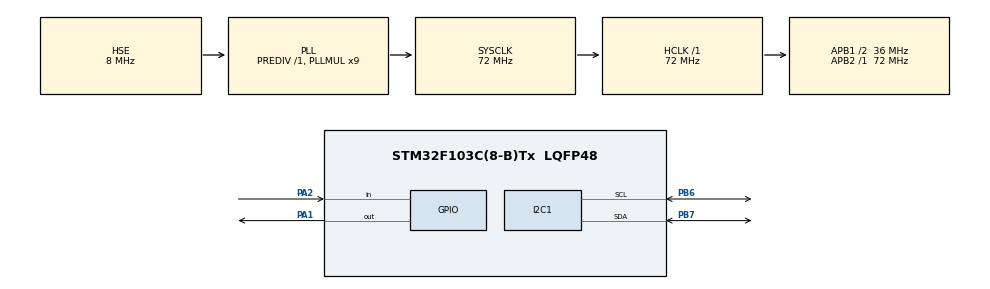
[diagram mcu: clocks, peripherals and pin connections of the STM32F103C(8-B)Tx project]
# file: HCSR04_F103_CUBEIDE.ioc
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Mcu.Family=STM32F1
Mcu.Name=STM32F103C(8-B)Tx
Mcu.Package=LQFP48
NVIC.PriorityGroup=NVIC_PRIORITYGROUP_4
PA1.Signal=GPIO_Output
PA13.Mode=Serial_Wire
PA13.Signal=SYS_JTMS-SWDIO
PA14.Mode=Serial_Wire
PA14.Signal=SYS_JTCK-SWCLK
PA2.Signal=GPIO_Input
PB6.Mode=I2C
PB6.Signal=I2C1_SCL
PB7.Mode=I2C
PB7.Signal=I2C1_SDA
PD0-OSC_IN.Mode=HSE-External-Oscillator
PD0-OSC_IN.Signal=RCC_OSC_IN
PD1-OSC_OUT.Mode=HSE-External-Oscillator
PD1-OSC_OUT.Signal=RCC_OSC_OUT
ProjectManager.HeapSize=0x200
ProjectManager.StackSize=0x400
ProjectManager.TargetToolchain=STM32CubeIDE
RCC.AHBFreq_Value=72000000
RCC.APB1CLKDivider=RCC_HCLK_DIV2
RCC.APB1Freq_Value=36000000
RCC.APB1TimFreq_Value=72000000
RCC.APB2Freq_Value=72000000
RCC.APB2TimFreq_Value=72000000
RCC.HCLKFreq_Value=72000000
RCC.PLLMUL=RCC_PLL_MUL9
RCC.PLLSourceVirtual=RCC_PLLSOURCE_HSE
RCC.SYSCLKFreq_VALUE=72000000
RCC.SYSCLKSource=RCC_SYSCLKSOURCE_PLLCLK
RCC.USBFreq_Value=72000000
TIM1.Period=0xffff-1
TIM1.Prescaler=72-1
VP_TIM1_VS_ClockSourceINT.Mode=Internal
board=custom

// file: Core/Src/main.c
/* USER CODE BEGIN Header */
/**
  ******************************************************************************
  * @file           : main.c
  * @brief          : Main program body
  ******************************************************************************
  * @attention
  *
  * <h2><center>&copy; Copyright (c) 2019 STMicroelectronics.
  * All rights reserved.</center></h2>
  *
  * This software component is licensed by ST under BSD 3-Clause license,
  * the "License"; You may not use this file except in compliance with the
  * License. You may obtain a copy of the License at:
  *                        opensource.org/licenses/BSD-3-Clause
  *
  ******************************************************************************
  */
/* USER CODE END Header */

#include "main.h"

/* USER CODE BEGIN Includes */
#include "i2c-lcd.h"
/* USER CODE END Includes */

I2C_HandleTypeDef hi2c1;

TIM_HandleTypeDef htim1;

void SystemClock_Config(void);
static void MX_GPIO_Init(void);
static void MX_I2C1_Init(void);
static void MX_TIM1_Init(void);

/* USER CODE BEGIN 0 */

/****** microsecond delay using TIMER1
 * timer is running at 72MHz **********/
void delay (uint32_t us)
{
	__HAL_TIM_SET_COUNTER(&htim1, 0);
	while ((__HAL_TIM_GET_COUNTER(&htim1))<us);
}

/************** PIN DEFINITION **************/
#define Trig_Pin  GPIO_PIN_1
#define Trig_Port GPIOA
#define Echo_Pin  GPIO_PIN_2
#define Echo_Port GPIOA

uint32_t local_time, sensor_time;
uint32_t distance;

uint32_t hcsr04_read (void)
{
	local_time=0;
	HAL_GPIO_WritePin(Trig_Port, Trig_Pin, GPIO_PIN_RESET);  // pull the TRIG pin HIGH
	delay(2);  // wait for 2 us

	HAL_GPIO_WritePin(Trig_Port, Trig_Pin, GPIO_PIN_SET);  // pull the TRIG pin HIGH
	delay(10);  // wait for 10 us
	HAL_GPIO_WritePin(Trig_Port, Trig_Pin, GPIO_PIN_RESET);  // pull the TRIG pin low

	// read the time for which the pin is high

	while (!(HAL_GPIO_ReadPin(Echo_Port, Echo_Pin)));  // wait for the ECHO pin to go high
	while (HAL_GPIO_ReadPin(Echo_Port, Echo_Pin))    // while the pin is high
	 {
		local_time++;   // measure time for which the pin is high
		delay (1);
	 }
	return local_time;
}

/* USER CODE END 0 */

int main(void)
{

  /* MCU Configuration--------------------------------------------------------*/

  /* Reset of all peripherals, Initializes the Flash interface and the Systick. */
  HAL_Init();

  /* Configure the system clock */
  SystemClock_Config();

  /* Initialize all configured peripherals */
  MX_GPIO_Init();
  MX_I2C1_Init();
  MX_TIM1_Init();
  /* USER CODE BEGIN 2 */

  HAL_TIM_Base_Start(&htim1);

  lcd_init();

  /* USER CODE END 2 */

  /* Infinite loop */
  while (1)
  {

    /* USER CODE BEGIN 3 */

	  sensor_time = hcsr04_read();
	  distance  = sensor_time * .034/2;

	  lcd_send_cmd(0x80);
	  lcd_send_string("DIST ");
	  lcd_send_data((distance/100)+48);  // 100 position
	  lcd_send_data(((distance%100)/10)+48);  // 10 position
	  lcd_send_data((distance%10)+48);  // 1 position

	  HAL_Delay(200);
  }
  /* USER CODE END 3 */
}

void SystemClock_Config(void)
{
  RCC_OscInitTypeDef RCC_OscInitStruct = {0};
  RCC_ClkInitTypeDef RCC_ClkInitStruct = {0};

  /** Initializes the CPU, AHB and APB busses clocks
  */
  RCC_OscInitStruct.OscillatorType = RCC_OSCILLATORTYPE_HSE;
  RCC_OscInitStruct.HSEState = RCC_HSE_ON;
  RCC_OscInitStruct.HSEPredivValue = RCC_HSE_PREDIV_DIV1;
  RCC_OscInitStruct.HSIState = RCC_HSI_ON;
  RCC_OscInitStruct.PLL.PLLState = RCC_PLL_ON;
  RCC_OscInitStruct.PLL.PLLSource = RCC_PLLSOURCE_HSE;
  RCC_OscInitStruct.PLL.PLLMUL = RCC_PLL_MUL9;
  if (HAL_RCC_OscConfig(&RCC_OscInitStruct) != HAL_OK)
  {
    Error_Handler();
  }
  /** Initializes the CPU, AHB and APB busses clocks
  */
  RCC_ClkInitStruct.ClockType = RCC_CLOCKTYPE_HCLK|RCC_CLOCKTYPE_SYSCLK
                              |RCC_CLOCKTYPE_PCLK1|RCC_CLOCKTYPE_PCLK2;
  RCC_ClkInitStruct.SYSCLKSource = RCC_SYSCLKSOURCE_PLLCLK;
  RCC_ClkInitStruct.AHBCLKDivider = RCC_SYSCLK_DIV1;
  RCC_ClkInitStruct.APB1CLKDivider = RCC_HCLK_DIV2;
  RCC_ClkInitStruct.APB2CLKDivider = RCC_HCLK_DIV1;

  if (HAL_RCC_ClockConfig(&RCC_ClkInitStruct, FLASH_LATENCY_2) != HAL_OK)
  {
    Error_Handler();
  }
}

static void MX_I2C1_Init(void)
{

  hi2c1.Instance = I2C1;
  hi2c1.Init.ClockSpeed = 100000;
  hi2c1.Init.DutyCycle = I2C_DUTYCYCLE_2;
  hi2c1.Init.OwnAddress1 = 0;
  hi2c1.Init.AddressingMode = I2C_ADDRESSINGMODE_7BIT;
  hi2c1.Init.DualAddressMode = I2C_DUALADDRESS_DISABLE;
  hi2c1.Init.OwnAddress2 = 0;
  hi2c1.Init.GeneralCallMode = I2C_GENERALCALL_DISABLE;
  hi2c1.Init.NoStretchMode = I2C_NOSTRETCH_DISABLE;
  if (HAL_I2C_Init(&hi2c1) != HAL_OK)
  {
    Error_Handler();
  }

}

static void MX_TIM1_Init(void)
{

  TIM_ClockConfigTypeDef sClockSourceConfig = {0};
  TIM_MasterConfigTypeDef sMasterConfig = {0};

  htim1.Instance = TIM1;
  htim1.Init.Prescaler = 72-1;
  htim1.Init.CounterMode = TIM_COUNTERMODE_UP;
  htim1.Init.Period = 0xffff-1;
  htim1.Init.ClockDivision = TIM_CLOCKDIVISION_DIV1;
  htim1.Init.RepetitionCounter = 0;
  htim1.Init.AutoReloadPreload = TIM_AUTORELOAD_PRELOAD_DISABLE;
  if (HAL_TIM_Base_Init(&htim1) != HAL_OK)
  {
    Error_Handler();
  }
  sClockSourceConfig.ClockSource = TIM_CLOCKSOURCE_INTERNAL;
  if (HAL_TIM_ConfigClockSource(&htim1, &sClockSourceConfig) != HAL_OK)
  {
    Error_Handler();
  }
  sMasterConfig.MasterOutputTrigger = TIM_TRGO_RESET;
  sMasterConfig.MasterSlaveMode = TIM_MASTERSLAVEMODE_DISABLE;
  if (HAL_TIMEx_MasterConfigSynchronization(&htim1, &sMasterConfig) != HAL_OK)
  {
    Error_Handler();
  }

}

static void MX_GPIO_Init(void)
{
  GPIO_InitTypeDef GPIO_InitStruct = {0};

  /* GPIO Ports Clock Enable */
  __HAL_RCC_GPIOD_CLK_ENABLE();
  __HAL_RCC_GPIOA_CLK_ENABLE();
  __HAL_RCC_GPIOB_CLK_ENABLE();

  /*Configure GPIO pin Output Level */
  HAL_GPIO_WritePin(GPIOA, GPIO_PIN_1, GPIO_PIN_RESET);

  /*Configure GPIO pin : PA1 */
  GPIO_InitStruct.Pin = GPIO_PIN_1;
  GPIO_InitStruct.Mode = GPIO_MODE_OUTPUT_PP;
  GPIO_InitStruct.Pull = GPIO_NOPULL;
  GPIO_InitStruct.Speed = GPIO_SPEED_FREQ_LOW;
  HAL_GPIO_Init(GPIOA, &GPIO_InitStruct);

  /*Configure GPIO pin : PA2 */
  GPIO_InitStruct.Pin = GPIO_PIN_2;
  GPIO_InitStruct.Mode = GPIO_MODE_INPUT;
  GPIO_InitStruct.Pull = GPIO_NOPULL;
  HAL_GPIO_Init(GPIOA, &GPIO_InitStruct);

}

void Error_Handler(void)
{
}

/************************ (C) COPYRIGHT STMicroelectronics *****END OF FILE****/
